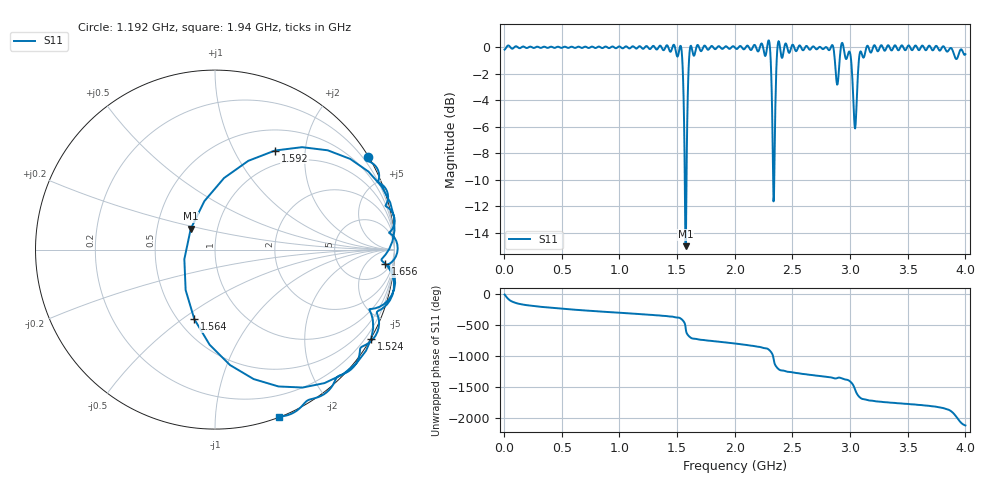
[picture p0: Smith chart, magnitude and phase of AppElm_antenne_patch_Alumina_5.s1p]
! TOUCHSTONE file generated by CST MICROWAVE STUDIO
! Date and time: Thu Jun  9 15:16:41 2022
! Project name: AppElm_antenne_patch_Alumina.cst
! Parameters = {L=30.5; W=41.8; e=0.035; h=1.6; lambda=0.190476; ls=90; w0=1.12; w1=0.373; ws=90; y0=14; y1=9.5}
! Header version: 2018
! Port assignment regex: !\s*Touchstone port\s*([0-9]+)\s*=\s*(CST MWS port|CST DS port)\s*([0-9]+|Zmin|Zmax)\s*\(\"(.*)\"\)(\s*mode\s*([0-9]+))?.*
! Touchstone port assignment:
! Touchstone port 1 = CST MWS port 1 ("")
# GHz S MA R 50
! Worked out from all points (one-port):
!   1000 points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, 4 MHz to 4 GHz, reference 50 ohm
!   lowest |S11| = -15.0 dB at 1.576 GHz (marker M1), VSWR 1.43, Z = 37.2 + j8.89 ohm
!   |S11| at or under -10 dB: 1.567 GHz to 1.581 GHz (14.8 MHz wide, 0.94 % of centre); 2.332986 GHz to 2.342153 GHz (9.167 MHz wide, 0.392 % of centre)
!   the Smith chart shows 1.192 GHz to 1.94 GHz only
!   S11 on the Smith chart (normalised r, x): 1.192 GHz: 0.03, +3.60; 1.524 GHz: -0.02, -3.77; 1.564 GHz: 0.60, -0.56; 1.592 GHz: 0.78, +1.48; 1.656 GHz: 10, -18; 1.94 GHz: 0.01, -1.45
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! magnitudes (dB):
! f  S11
! 4 MHz  -0.2
! 504 MHz  0.0
! 1.004 GHz  0.1
! 1.192 GHz  0.0
! 1.504 GHz  -0.7
! 1.524 GHz  0.0
! 1.544 GHz  -0.8
! 1.564 GHz  -7.9
! 1.576 GHz  -15.0
! 1.592 GHz  -3.8
! 1.612 GHz  -0.1
! 1.656 GHz  -0.4
! 1.94 GHz  0.0
! 2.004 GHz  -0.1
! 2.292 GHz  0.5
! 2.336 GHz  -11.6
! 2.348 GHz  -6.4
! 2.368 GHz  -0.3
! 2.38 GHz  0.5
! 2.504 GHz  0.2
! 2.84 GHz  0.1
! 2.888 GHz  -2.8
! 2.932 GHz  0.3
! 3.004 GHz  -0.6
! 3.044 GHz  -6.1
! 3.096 GHz  -0.4
! 3.504 GHz  0.1
! 4 GHz  -0.5
